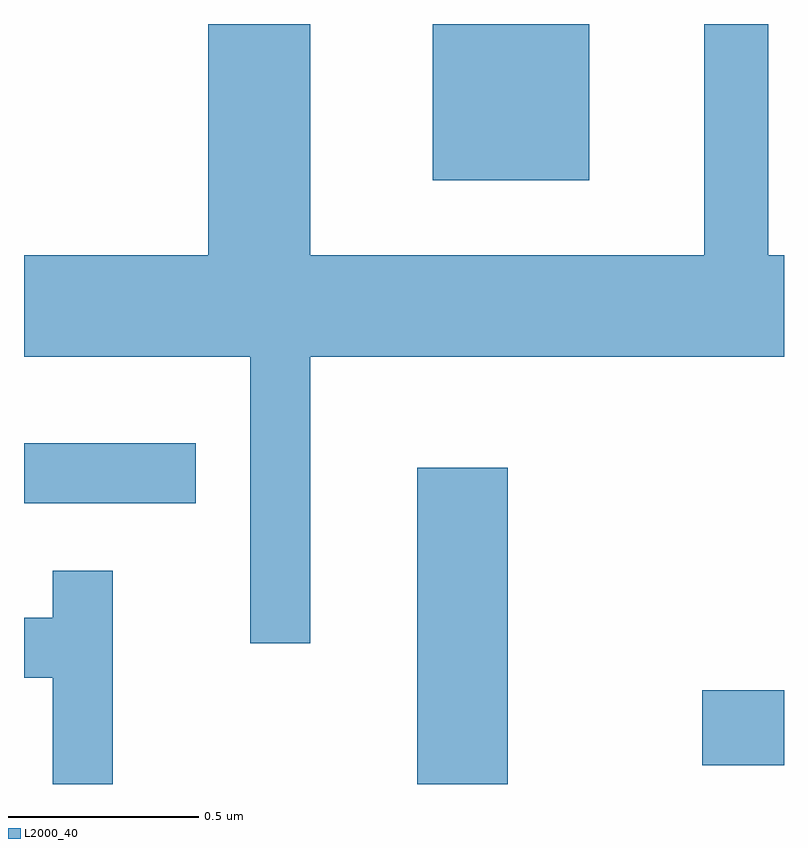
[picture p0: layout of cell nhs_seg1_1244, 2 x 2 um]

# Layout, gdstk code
import gdstk
lib = gdstk.Library(unit=1e-6, precision=1e-09)
def R(c, l, rs):  # rectangles x0, y0, x1, y1
    for r in rs: c.add(gdstk.rectangle(r[:2], r[2:], *l))
def P(c, l, *ps):  # polygons
    for p in ps: c.add(gdstk.Polygon(p, *l))
L2000_40 = (2000, 40)

nhs_seg1_1244 = lib.new_cell('nhs_seg1_1244')
R(nhs_seg1_1244, L2000_40, [(195.646,860.712,195.884,861.544), (196.396,860.761,196.611,860.959), (194.611,861.451,195.063,861.609), (195.686,862.301,196.099,862.712)])
P(nhs_seg1_1244, L2000_40, [(195.364,861.836),(196.611,861.836),(196.611,862.104),(196.569,862.104),(196.569,862.712),(196.401,862.712),(196.401,862.104),(195.364,862.104),(195.364,862.712),(195.096,862.712),(195.096,862.104),(194.611,862.104),(194.611,861.836),(195.206,861.836),(195.206,861.083),(195.364,861.083)],
  [(194.844,861.273),(194.686,861.273),(194.686,861.149),(194.611,861.149),(194.611,860.991),(194.686,860.991),(194.686,860.712),(194.844,860.712)])

lib.write_gds('nhs_seg1_1244.gds')
